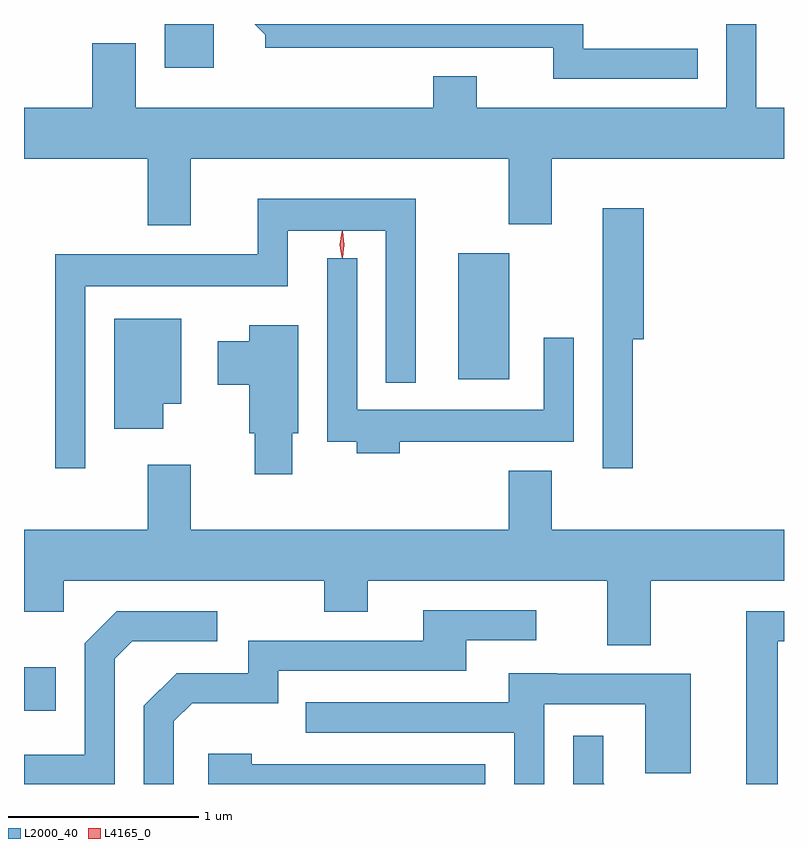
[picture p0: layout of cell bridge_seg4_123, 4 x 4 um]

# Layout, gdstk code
import gdstk
lib = gdstk.Library(unit=1e-6, precision=1e-09)
def R(c, l, rs):  # rectangles x0, y0, x1, y1
    for r in rs: c.add(gdstk.rectangle(r[:2], r[2:], *l))
def P(c, l, *ps):  # polygons
    for p in ps: c.add(gdstk.Polygon(p, *l))
L2000_40 = (2000, 40)
L4165_0 = (4165, 0)

bridge_seg4_123 = lib.new_cell('bridge_seg4_123')
R(bridge_seg4_123, L2000_40, [(880.081,1316.251,880.249,1316.479), (882.366,1317.996,882.634,1318.659)])
P(bridge_seg4_123, L2000_40, [(880.669,1319.764),(880.441,1319.764),(880.441,1319.424),(880.081,1319.424),(880.081,1319.156),(880.731,1319.156),(880.731,1318.806),(880.959,1318.806),(880.959,1319.156),(882.631,1319.156),(882.631,1318.811),(882.859,1318.811),(882.859,1319.156),(884.081,1319.156),(884.081,1319.424),(883.934,1319.424),(883.934,1319.865),(883.776,1319.865),(883.776,1319.424),(882.464,1319.424),(882.464,1319.589),(882.236,1319.589),(882.236,1319.424),(880.669,1319.424)],
  [(883.628,1319.734),(883.024,1319.734),(883.024,1319.865),(881.295,1319.865),(881.351,1319.809),(881.351,1319.741),(882.866,1319.741),(882.866,1319.576),(883.628,1319.576)],
  [(881.079,1319.864),(880.979,1319.864),(880.979,1319.865),(880.821,1319.865),(880.821,1319.636),(881.079,1319.636)],
  [(880.404,1318.486),(881.469,1318.486),(881.469,1318.776),(881.986,1318.776),(881.986,1317.978),(882.144,1317.978),(882.144,1318.944),(881.311,1318.944),(881.311,1318.654),(880.246,1318.654),(880.246,1317.528),(880.404,1317.528)],
  [(883.284,1318.206),(883.344,1318.206),(883.344,1318.894),(883.126,1318.894),(883.126,1317.528),(883.284,1317.528)],
  [(882.059,1317.666),(882.974,1317.666),(882.974,1318.213),(882.816,1318.213),(882.816,1317.834),(881.834,1317.834),(881.834,1318.633),(881.676,1318.633),(881.676,1317.666),(881.831,1317.666),(881.831,1317.606),(882.059,1317.606)],
  [(880.814,1317.866),(880.909,1317.866),(880.909,1318.314),(880.556,1318.314),(880.556,1317.736),(880.814,1317.736)],
  [(881.494,1317.711),(881.524,1317.711),(881.524,1318.279),(881.266,1318.279),(881.266,1318.194),(881.101,1318.194),(881.101,1317.966),(881.266,1317.966),(881.266,1317.711),(881.296,1317.711),(881.296,1317.496),(881.494,1317.496)],
  [(883.379,1316.936),(884.081,1316.936),(884.081,1317.204),(882.859,1317.204),(882.859,1317.514),(882.631,1317.514),(882.631,1317.204),(880.959,1317.204),(880.959,1317.544),(880.731,1317.544),(880.731,1317.204),(880.081,1317.204),(880.081,1316.771),(880.289,1316.771),(880.289,1316.936),(881.661,1316.936),(881.661,1316.771),(881.889,1316.771),(881.889,1316.936),(883.151,1316.936),(883.151,1316.596),(883.379,1316.596)],
  [(880.869,1316.194),(880.967,1316.291),(881.419,1316.291),(881.419,1316.461),(882.409,1316.461),(882.409,1316.621),(882.778,1316.621),(882.778,1316.779),(882.181,1316.779),(882.181,1316.619),(881.261,1316.619),(881.261,1316.449),(880.884,1316.449),(880.711,1316.277),(880.711,1315.865),(880.869,1315.865)],
  [(884.049,1316.616),(884.081,1316.616),(884.081,1316.774),(883.881,1316.774),(883.881,1315.865),(884.049,1315.865)],
  [(880.559,1316.524),(880.652,1316.616),(881.098,1316.616),(881.098,1316.774),(880.569,1316.774),(880.401,1316.607),(880.401,1316.019),(880.081,1316.019),(880.081,1315.865),(880.559,1315.865)],
  [(882.819,1316.286),(883.351,1316.286),(883.351,1315.921),(883.589,1315.921),(883.589,1316.444),(882.885,1316.444),(882.885,1316.449),(882.631,1316.449),(882.631,1316.294),(881.563,1316.294),(881.563,1316.136),(882.661,1316.136),(882.661,1315.865),(882.819,1315.865)],
  [(883.129,1315.872),(883.129,1316.118),(882.971,1316.118),(882.971,1315.865),(883.136,1315.865)],
  [(882.509,1315.969),(881.279,1315.969),(881.279,1316.024),(881.051,1316.024),(881.051,1315.865),(882.509,1315.865)])
P(bridge_seg4_123, L4165_0, [(881.753,1318.638),(881.753,1318.638),(881.743,1318.704),(881.753,1318.771),(881.753,1318.771),(881.754,1318.771),(881.763,1318.704),(881.754,1318.638)],
  [(881.757,1318.634),(881.757,1318.635),(881.748,1318.704),(881.757,1318.773),(881.758,1318.774),(881.758,1318.773),(881.767,1318.704),(881.758,1318.635)])

lib.write_gds('bridge_seg4_123.gds')
